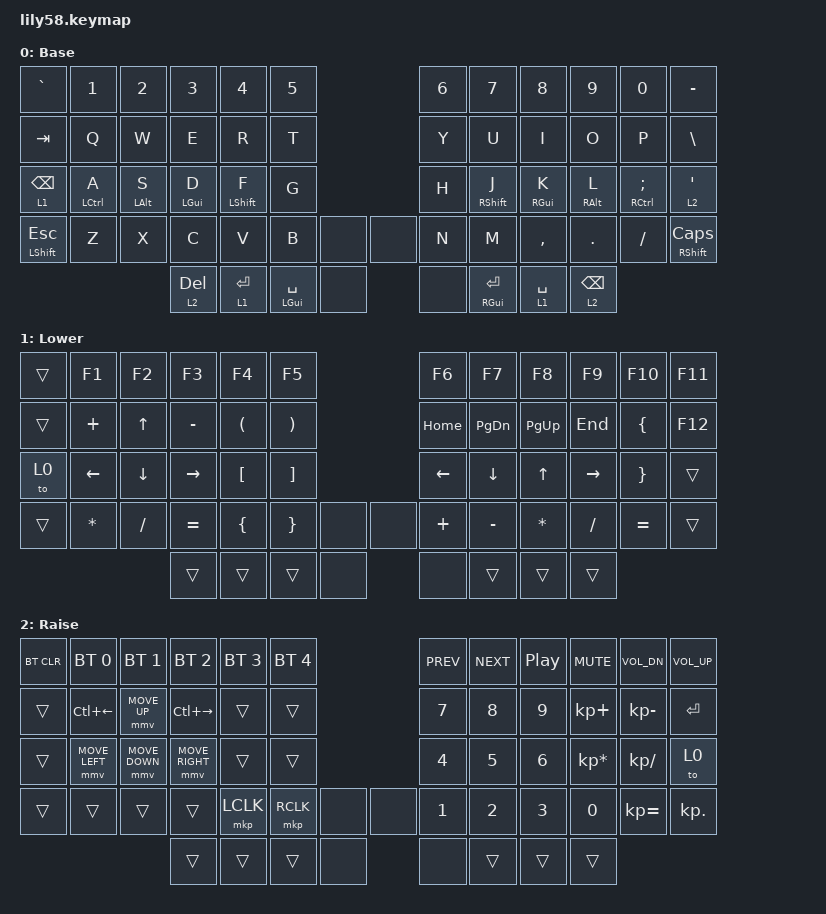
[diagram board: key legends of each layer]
/*
 * Copyright (c) 2020 The ZMK Contributors
 *
 * SPDX-License-Identifier: MIT
 */

#include <behaviors.dtsi>
#include <dt-bindings/zmk/keys.h>
#include <dt-bindings/zmk/bt.h>
#include <dt-bindings/zmk/ext_power.h>
#include <dt-bindings/zmk/outputs.h>
#include <dt-bindings/zmk/pointing.h>

/ {
    behaviors {
        to_kp: to_kp {
            compatible = "zmk,behavior-hold-tap";
            #binding-cells = <2>;
            flavor = "tap-preferred";
            tapping-term-ms = <200>;
            bindings = <&to>, <&kp>;
        };
    };

    keymap {
        compatible = "zmk,keymap";

        default_layer {
// -------------------------------------------------------------------------------------------------------------
// |   `   |  1  |  2  |   3   |   4   |   5   |                   |   6   |   7   |   8   |  9  |  0  |   -   |
// |  TAB  |  Q  |  W  |   E   |   R   |   T   |                   |   Y   |   U   |   I   |  O  |  P  |   \   |
// |BSPC/L1|A/CTL|S/ALT| D/CMD | F/SFT |   G   |                   |   H   | J/SFT | K/CMD |L/ALT|;/CTL| '/L2  |
// |ESC/SFT|  Z  |  X  |   C   |   V   |   B   |  n/a   |  |  n/a  |   N   |   M   |   ,   |  .  |  /  |CAP/SFT|
//                     | DEL/L2| RET/L1|SPC/CMD|  n/a   |  |  n/a  |RET/CMD| SPC/L1|BSPC/L2|
// Note: Silakka54 has 54 keys - the 4 positions marked n/a are not present (inner thumb + encoder positions)
            display-name = "Base";
            bindings = <
&kp GRAVE     &kp N1       &kp N2      &kp N3      &kp N4       &kp N5                      &kp N6    &kp N7       &kp N8      &kp N9      &kp N0         &kp MINUS
&kp TAB       &kp Q        &kp W       &kp E       &kp R        &kp T                       &kp Y     &kp U        &kp I       &kp O       &kp P          &kp BSLH
&to_kp 1 BSPC &mt LCTRL A  &mt LALT S  &mt LGUI D  &mt LSHFT F  &kp G                       &kp H     &mt RSHFT J  &mt RGUI K  &mt RALT L  &mt RCTRL SEMI &to_kp 2 SQT
&mt LSHFT ESC &kp Z        &kp X       &kp C       &kp V        &kp B  &none      &none     &kp N     &kp M        &kp COMMA   &kp DOT     &kp FSLH       &mt RSHFT CAPS
                                       &lt 2 DEL   &lt 1 RET    &mt LGUI SPACE &none   &none     &mt RGUI RET &lt 1 SPACE &lt 2 BSPC
            >;
        };

        lower_layer {
// ------------------------------------------------------------------------------------------------------------
// |       |  F1 |  F2 |  F3  |  F4  |  F5  |                   |  F6  |  F7   |  F8   |  F9  |  F10  |  F11  |
// |       |  +  |  ^  |  -   |  (   |  )   |                   | HOME | PGDN  | PGUP  | END  |   {   |  F12  |
// |  TO 0 |  <- |  v  |  ->  |  [   |  ]   |                   |  <-  |   v   |  ^    |  ->  |   }   |       |
// |       |  *  |  /  |  =   |  {   |  }   |  n/a   |  |  n/a  |  +   |   -   |  *    |  /   |   =   |       |
//                     |      |      |      |  n/a   |  |  n/a  |      |       |       |
            display-name = "Lower";
            bindings = <
&trans &kp F1   &kp F2   &kp F3    &kp F4    &kp F5                       &kp F6   &kp F7    &kp F8    &kp F9    &kp F10   &kp F11
&trans &kp PLUS &kp UP   &kp MINUS &kp LPAR  &kp RPAR                     &kp HOME &kp PG_DN &kp PG_UP &kp END   &kp LBRC  &kp F12
&to 0  &kp LEFT &kp DOWN &kp RIGHT &kp LBKT  &kp RBKT                     &kp LEFT &kp DOWN  &kp UP    &kp RIGHT &kp RBRC  &trans
&trans &kp STAR &kp FSLH &kp EQUAL &kp LBRC  &kp RBRC  &none     &none    &kp PLUS &kp MINUS &kp STAR  &kp FSLH  &kp EQUAL &trans
                         &trans    &trans    &trans    &none     &none    &trans   &trans    &trans
            >;
        };

        raise_layer {
// ------------------------------------------------------------------------------------------------------------
// | BT_CLR| BT0 | BT1 | BT2  | BT3  | BT4  |                   | PREV | NEXT  | PLAY  | MUTE | VOL-  | VOL+  |
// |       |C-LFT| MS_U|C-RGT |      |      |                   |  7   |  8    |  9    |  +   |   -   |  RET  |
// |       |MS_L |MS_D |MS_R  |      |      |                   |  4   |  5    |  6    |  *   |   /   | TO 0  |
// |       |     |     |      | LCLK | RCLK |  n/a   |  |  n/a  |  1   |  2    |  3    |  0   |   =   |   .   |
//                     |      |      |      |  n/a   |  |  n/a  |      |       |       |
            display-name = "Raise";
            bindings = <
&bt BT_CLR     &bt BT_SEL 0 &bt BT_SEL 1 &bt BT_SEL 2 &bt BT_SEL 3 &bt BT_SEL 4   &kp C_PREV &kp C_NEXT &kp C_PP &kp C_MUTE &kp C_VOL_DN &kp C_VOL_UP
&trans &kp LC(LEFT) &mmv MOVE_UP &kp LC(RIGHT) &trans &trans                       &kp N7     &kp N8     &kp N9   &kp KP_PLUS &kp KP_MINUS &kp RET
&trans &mmv MOVE_LEFT &mmv MOVE_DOWN &mmv MOVE_RIGHT &trans &trans                 &kp N4     &kp N5     &kp N6   &kp KP_MULTIPLY &kp KP_DIVIDE &to 0
&trans &trans &trans &trans &mkp LCLK &mkp RCLK    &none      &none   &kp N1     &kp N2     &kp N3   &kp N0     &kp KP_EQUAL &kp KP_DOT
                     &trans &trans &trans    &none      &none   &trans     &trans     &trans
            >;
        };

        extra_1 {
            status = "reserved";
        };

        extra_2 {
            status = "reserved";
        };

        extra_3 {
            status = "reserved";
        };
    };
};
